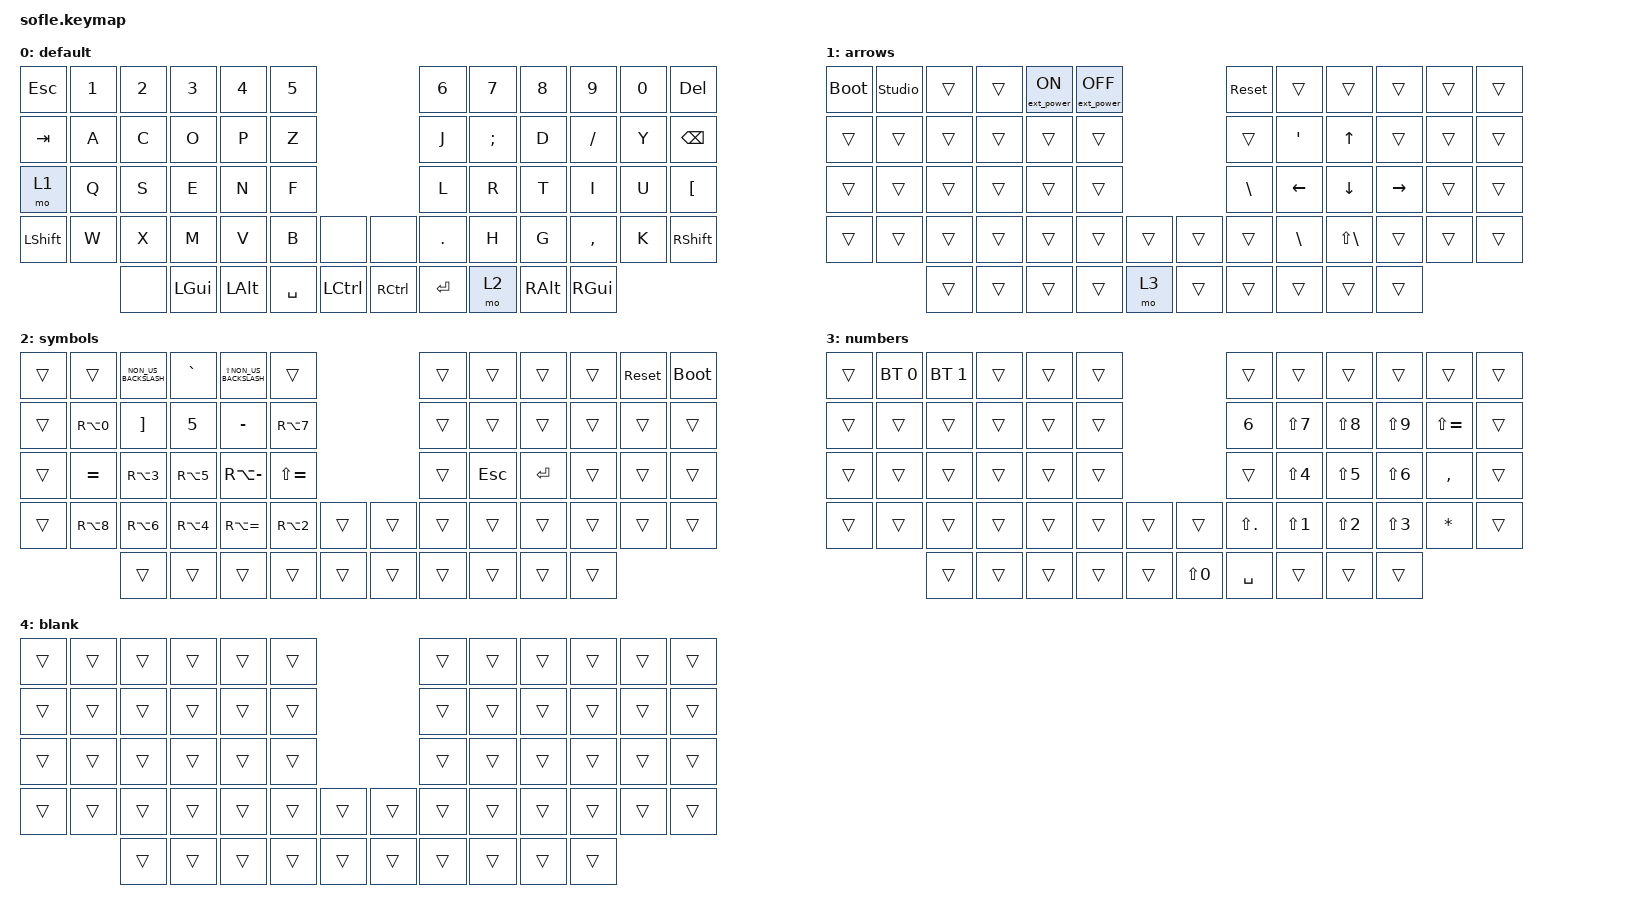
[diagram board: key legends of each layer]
/*
 * Copyright (c) 2020 The ZMK Contributors
 *
 * SPDX-License-Identifier: MIT
 */

#include <behaviors.dtsi>
#include <dt-bindings/zmk/bt.h>
#include <dt-bindings/zmk/ext_power.h>
#include <dt-bindings/zmk/keys.h>

#define BASE 0
#define LOWER 1
#define RAISE 2
#define ADJUST 3

&lt { tapping-term-ms = <50>; };

/ {
    // Activate ADJUST layer by pressing raise and lower

    conditional_layers { compatible = "zmk,conditional-layers"; };

    keymap {
        compatible = "zmk,keymap";

        default_layer {
            display-name = "default";

            // ------------------------------------------------------------------------------------------------------------
            // |   `   |  1  |  2  |  3   |  4   |  5   |                   |  6   |  7    |  8    |  9   |   0   |       |
            // |  ESC  |  Q  |  W  |  E   |  R   |  T   |                   |  Y   |  U    |  I    |  O   |   P   | BKSPC |
            // |  TAB  |  A  |  S  |  D   |  F   |  G   |                   |  H   |  J    |  K    |  L   |   ;   |   '   |
            // | SHIFT |  Z  |  X  |  C   |  V   |  B   |  MUTE  |  |       |  N   |  M    |  ,    |  .   |   /   | SHIFT |
            //               | GUI | ALT  | CTRL | LOWER|  ENTER |  | SPACE | RAISE| CTRL  | ALT   | GUI  |

            bindings = <
&kp ESCAPE  &kp NUMBER_1  &kp N2  &kp N3        &kp N4        &kp N5                                            &kp N6      &kp N7         &kp N8    &kp N9     &kp N0  &kp DEL
&kp TAB     &kp A         &kp C   &kp O         &kp P         &kp Z                                             &kp J       &kp SEMICOLON  &kp D     &kp SLASH  &kp Y   &kp BSPC
&mo 1       &kp Q         &kp S   &kp E         &kp N         &kp F                                             &kp L       &kp R          &kp T     &kp I      &kp U   &kp LEFT_BRACKET
&kp LSHFT   &kp W         &kp X   &kp M         &kp V         &kp B      &none               &none              &kp PERIOD  &kp H          &kp G     &kp COMMA  &kp K   &kp RSHFT
                          &none   &kp LEFT_GUI  &kp LEFT_ALT  &kp SPACE  &kp LEFT_CONTROL    &kp RIGHT_CONTROL  &kp ENTER   &mo 2          &kp RALT  &kp RGUI
            >;
        };

        Arrows {
            display-name = "arrows";

            // TODO: Some binds are waiting for shifted keycode support.
            // ------------------------------------------------------------------------------------------------------------
            // |       |  F1 |  F2 |  F3  |  F4  |  F5  |                   |  F6  |  F7   |  F8   |  F9  |  F10  |  F11  |
            // |   `   |  1  |  2  |  3   |  4   |  5   |                   |  6   |  7    |  8    |  9   |   0   |  F12  |
            // |       |  !  |  @  |  #   |  $   |  %   |                   |  ^   |  &    |  *    |  (   |   )   |   |   |
            // |       |  =  |  -  |  +   |  {   |  }   |        |  |       |  [   |  ]    |  ;    |  :   |   \   |       |
            //               |     |      |      |      |        |  |       |      |       |       |      |

            bindings = <
&bootloader  &studio_unlock  &trans  &trans  &ext_power EP_ON  &ext_power EP_OFF                    &sys_reset     &trans          &trans             &trans     &trans  &trans
&trans       &trans          &trans  &trans  &trans            &trans                               &trans         &kp SQT         &kp UP_ARROW       &trans     &trans  &trans
&trans       &trans          &trans  &trans  &trans            &trans                               &kp BACKSLASH  &kp LEFT_ARROW  &kp DOWN_ARROW     &kp RIGHT  &trans  &trans
&trans       &trans          &trans  &trans  &trans            &trans             &trans    &trans  &trans         &kp BACKSLASH   &kp LS(BACKSLASH)  &trans     &trans  &trans
                             &trans  &trans  &trans            &trans             &mo 3     &trans  &trans         &trans          &trans             &trans
            >;
        };

        Symbols {
            display-name = "symbols";
            bindings = <
&trans  &trans            &kp NON_US_BACKSLASH  &kp GRAVE         &kp LS(NON_US_BACKSLASH)  &trans                              &trans  &trans      &trans     &trans  &sys_reset  &bootloader
&trans  &kp RA(NUMBER_0)  &kp RIGHT_BRACKET     &kp NUMBER_5      &kp MINUS                 &kp RA(N7)                          &trans  &trans      &trans     &trans  &trans      &trans
&trans  &kp EQUAL         &kp RA(NUMBER_3)      &kp RA(N5)        &kp RA(MINUS)             &kp LS(EQUAL)                       &trans  &kp ESCAPE  &kp ENTER  &trans  &trans      &trans
&trans  &kp RA(NUMBER_8)  &kp RA(NUMBER_6)      &kp RA(NUMBER_4)  &kp RA(EQUAL)             &kp RA(NUMBER_2)  &trans    &trans  &trans  &trans      &trans     &trans  &trans      &trans
                          &trans                &trans            &trans                    &trans            &trans    &trans  &trans  &trans      &trans     &trans
            >;
        };

        Numbers {
            display-name = "numbers";
            bindings = <
&trans  &bt BT_SEL 0  &bt BT_SEL 1  &trans  &trans  &trans                        &trans          &trans            &trans            &trans            &trans         &trans
&trans  &trans        &trans        &trans  &trans  &trans                        &kp NUMBER_6    &kp LS(NUMBER_7)  &kp LS(N8)        &kp LS(N9)        &kp LS(EQUAL)  &trans
&trans  &trans        &trans        &trans  &trans  &trans                        &trans          &kp LS(NUMBER_4)  &kp LS(N5)        &kp LS(NUMBER_6)  &kp COMMA      &trans
&trans  &trans        &trans        &trans  &trans  &trans  &trans    &trans      &kp LS(PERIOD)  &kp LS(NUMBER_1)  &kp LS(NUMBER_2)  &kp LS(NUMBER_3)  &kp ASTERISK   &trans
                      &trans        &trans  &trans  &trans  &trans    &kp LS(N0)  &kp SPACE       &trans            &trans            &trans
            >;
        };

        blank {
            display-name = "blank";
            bindings = <
&trans  &trans  &trans  &trans  &trans  &trans                    &trans  &trans  &trans  &trans  &trans  &trans
&trans  &trans  &trans  &trans  &trans  &trans                    &trans  &trans  &trans  &trans  &trans  &trans
&trans  &trans  &trans  &trans  &trans  &trans                    &trans  &trans  &trans  &trans  &trans  &trans
&trans  &trans  &trans  &trans  &trans  &trans  &trans    &trans  &trans  &trans  &trans  &trans  &trans  &trans
                &trans  &trans  &trans  &trans  &trans    &trans  &trans  &trans  &trans  &trans
            >;
        };
    };
};
